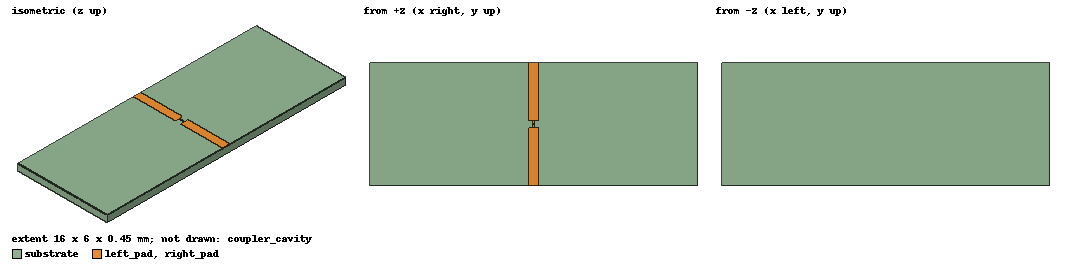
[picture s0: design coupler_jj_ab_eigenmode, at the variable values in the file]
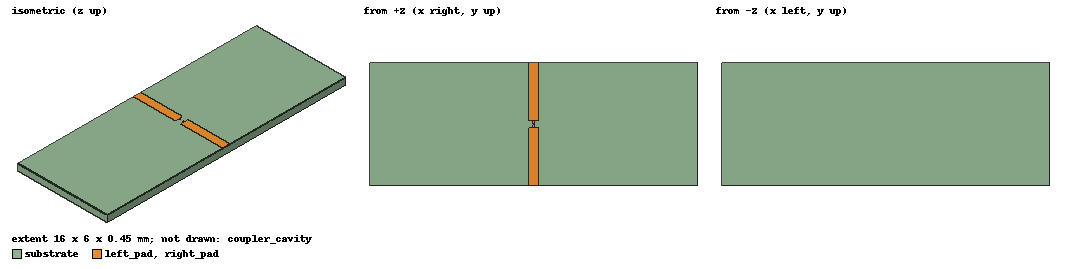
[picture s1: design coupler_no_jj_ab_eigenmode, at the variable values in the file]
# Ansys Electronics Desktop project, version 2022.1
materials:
  vacuum: permittivity=1
  sapphire: permittivity=10 dielectric_loss_tangent=1.9e-08

design coupler_jj_ab_eigenmode (HFSS, Eigenmode, model units mm)
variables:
  r_post = 2mm
  h_cpl_post = 7.5mm
  r_cpl_post = 2mm
  cpl_post_offset = 2mm
  r_cpl = 8mm
  h_cpl_cavity = 75mm
  w_pad = 500um
  w_junc = 50um
  l_junc = 50um
  l_taper = 150um
  l_pad = (2 * r_cpl_post + cpl_post_offset - 2 * l_taper - l_junc) / 2
  cpl_bottom_offset = 0mm
  h_sub = 0.45mm
  w_sub = cpl_post_offset + 2 * r_cpl_post
  l_sub = 2*r_cpl
  LJ = 1nH
  h_cav_a = 120mm
  r_cav_b = 5mm
  h_cav_b = 120mm
  h_post_b = 9mm
  r_post_b = 2mm
  ab_offset = 18mm
  r_cav_a = 5mm
  r_post_a = 2mm
  h_post_a = 9mm
  w_cpl_box = 4mm
  l_cpl_box = ab_offset + 2 mm
  h_cpl_box = 2mm
  e = 7mm
  box_z_offset = 0mm
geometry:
  left_cpl_post = cylinder(axis=Z, base_centre=(0mm, -cpl_post_offset/2-r_cpl_post, 0mm), radius=r_cpl_post, height=h_cpl_post)
  coupler_cavity [vacuum] = cylinder(axis=Z, base_centre=(0mm, 0mm, -cpl_bottom_offset), radius=r_cpl, height=h_cpl_cavity)
  right_cpl_post = cylinder(axis=Z, base_centre=(0mm, cpl_post_offset/2+r_cpl_post, 0mm), radius=r_cpl_post, height=h_cpl_post)
  left_pad = rectangle(corner=(-w_pad/2, -l_pad - l_taper - l_junc/2, 0mm), x_size=w_pad, y_size=l_pad)
  right_pad = rectangle(corner=(-w_pad/2, l_taper + l_junc/2, 0mm), x_size=w_pad, y_size=l_pad)
  left_taper = rectangle(corner=(-w_junc/2, -l_taper-l_junc/2, 0), x_size=w_junc, y_size=l_taper)
  right_taper = rectangle(corner=(-w_junc/2, l_junc/2, 0), x_size=w_junc, y_size=l_taper)
  jj = rectangle(corner=(-w_junc/2, -l_junc/2, 0), x_size=w_junc, y_size=l_junc)
  substrate [sapphire] = box(corner=(-l_sub/2, -w_sub/2, -h_sub), size=(l_sub, w_sub, h_sub))
  substrate1 = box(corner=(-l_sub/2, -w_sub/2, -h_sub), size=(l_sub, w_sub, h_sub))
  coupler_cavity.unite(substrate1)
  coupler_cavity.subtract(left_cpl_post, right_cpl_post)
  substrate_1 = substrate.copy()
  coupler_cavity.subtract(substrate_1)
  post_b = cylinder(axis=Z, base_centre=(0mm, ab_offset + r_cpl + r_cav_b, 0mm), radius=r_post_b, height=h_post_b)
  cavity_b = cylinder(axis=Z, base_centre=(0mm, ab_offset + r_cpl + r_cav_b, 0mm), radius=r_cav_b, height=h_cav_b)
  cavity_a = cylinder(axis=Z, base_centre=(0mm, -r_cpl-r_cav_a-ab_offset, 0mm), radius=r_cav_a, height=h_cav_a)
  post_a = cylinder(axis=Z, base_centre=(0mm, -ab_offset - r_cpl - r_cav_a, 0mm), radius=r_post_a, height=h_post_a)
  left_coupling_box = box(corner=(-w_cpl_box/2, -r_cpl-ab_offset/2-l_cpl_box/2, box_z_offset), size=(w_cpl_box, l_cpl_box, h_cpl_box))
  cavity_a.subtract(post_a)
  cavity_b.subtract(post_b)
  right_coupling_box = box(corner=(-w_cpl_box/2, r_cpl+ab_offset/2-l_cpl_box/2, box_z_offset), size=(w_cpl_box, l_cpl_box, h_cpl_box))
  coupler_cavity.unite(cavity_b, cavity_a, left_coupling_box, right_coupling_box)
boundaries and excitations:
  jj_rlc: Lumped RLC Objects=jj CurrentLine{(0, -0.025, 0) -> (0, 0.025, 0)} RLC_Type=Parallel Inductance=LJ
  cpl_pads: Perfect E Objects=[left_pad, left_taper, right_pad, right_taper]
  coupler_vac_bnd: Impedance Faces=coupler_cavity.face(3 of 3) Resistance=377 Reactance=0
  post_cavity_vac_bnd: Impedance Faces=coupler_cavity.face(3 of 3, 3 of 3) Resistance=377 Reactance=0
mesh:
  coupler_post_mesh: LengthBased Faces=coupler_cavity.face(at (2, 3, 3.75), at (2, -3, 3.75)) MaxLength=1.5mm
  post_top_coupler_mesh: LengthBased Faces=coupler_cavity.face(at (0, 3, 7.5), at (0, -3, 7.5)) MaxLength=1mm
  coupler_cavity_wall_mesh: LengthBased Faces=coupler_cavity.face(1 of 3, 3 of 3) MaxLength=15mm
  substrate_top_mesh: LengthBased Faces=substrate.face(+z) MaxLength=4mm
  pad_mesh: LengthBased Objects=[left_pad, right_pad] MaxLength=0.665mm
  taper_mesh: LengthBased Objects=[left_taper, right_taper] MaxLength=0.03mm
  jj_mesh: LengthBased Objects=jj MaxLength=0.01mm
  ab_cavity_wall_mesh: LengthBased Faces=coupler_cavity.face(1 of 3, 1 of 3, 3 of 3, 3 of 3) MaxLength=24mm
  cavity_bottom_mesh: LengthBased Faces=coupler_cavity.face(2 of 3) MaxLength=9.6mm
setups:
  Setup1: HfssEigen MinimumFrequency=1.98807GHz NumModes=6 MaxDeltaFreq=0.02 ConvergeOnRealFreq=true MaximumPasses=30 MinimumPasses=1 MinimumConvergedPasses=1 PercentRefinement=30 BasisOrder=1
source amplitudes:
  #-10:1: 1 0deg
  #-10:2..#-10:6: 0 0deg
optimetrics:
  LJ_sweep: Parametric Sim._Setups=[Setup1]
    sweep LJ: DEC 0.1nH 100nH 5
  ab_offset_sweep: Parametric Sim._Setups=[Setup1]
    sweep ab_offset: LIN 17mm 19mm 0.25mm
  cpl_box_width_sweep: Parametric Sim._Setups=[Setup1]
    sweep w_cpl_box: LIN 2mm 4mm 0.5mm
  cpl_box_z_offset_sweep: Parametric Sim._Setups=[Setup1]
    sweep box_z_offset: LIN 0mm 12mm 2mm
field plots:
  Vector_H1: H Field on Setup1 : LastAdaptive at Phase=90deg
  Vector_Jsurf1: Jsurf over coupler_cavity.face(2 of 3) on Setup1 : LastAdaptive at Phase=90deg
  Vector_E1: E Field on Setup1 : LastAdaptive at Phase=0deg
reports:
  Modes vs LJ: re(Mode(1)), re(Mode(2)), re(Mode(3)), re(Mode(4)), re(Mode(5)), re(Mode(6)) vs LJ on Setup1 : LastAdaptive
  Solution Convergence Plot 1: MaxDeltaFreq vs Pass on Setup1 : AdaptivePass [LJ=all ab_offset=all]; markers m1 at 5
  Eigen Q Plot 1: Q(1), Q(2), Q(3), Q(4), Q(5), Q(6) vs LJ on Setup1 : LastAdaptive
  Modes vs cavity offset: re(Mode(1)), re(Mode(2)), re(Mode(3)), re(Mode(4)), re(Mode(5)), re(Mode(6)) vs ab_offset on Setup1 : LastAdaptive [LJ=1nH]
  Mode splitting (1-2) vs cavity offset: re(Mode(2))- re(Mode(1)) vs ab_offset on Setup1 : LastAdaptive [LJ=1nH]; markers m1 at 18mm, m2 at 16mm, m3 at 20mm
  Modes vs coupler box width: re(Mode(1)), re(Mode(2)), re(Mode(3)), re(Mode(4)), re(Mode(5)), re(Mode(6)) vs w_cpl_box on Setup1 : LastAdaptive [r_cpl_post=2mm r_cpl=8mm LJ=1nH h_post_b=9mm ab_offset=18mm h_post_a=9mm]
  Modes vs coupler box width_1: re(Mode(2))-re(Mode(1)) vs w_cpl_box on Setup1 : LastAdaptive [r_cpl_post=2mm r_cpl=8mm LJ=1nH h_post_b=9mm ab_offset=18mm h_post_a=9mm]
  Solution Convergence Plot 2: MaxDeltaFreq vs Pass on Setup1 : AdaptivePass [r_cpl_post=2mm r_cpl=8mm LJ=1nH h_post_b=9mm ab_offset=18mm h_post_a=9mm w_cpl_box=all]
  Mode splitting vs LJ, lambda/2 coupling: re(Mode(2))-re(Mode(1)) vs LJ on Setup1 : LastAdaptive; markers m1 at 10nH, m2 at 1nH
  Eigen Modes Plot 1: re(Mode(1)), re(Mode(2)), re(Mode(3)), re(Mode(4)), re(Mode(5)), re(Mode(6)) vs box_z_offset on Setup1 : LastAdaptive [r_cpl_post=2mm r_cpl=8mm LJ=1nH h_post_b=9mm ab_offset=2mm h_post_a=9mm w_cpl_box=all]
  Mode splitting vs. coupler z offset: re(Mode(2))-re(Mode(1)) vs box_z_offset on Setup1 : LastAdaptive [r_cpl_post=2mm r_cpl=8mm LJ=1nH h_post_b=9mm ab_offset=2mm h_post_a=9mm w_cpl_box=all]

design coupler_no_jj_ab_eigenmode (HFSS, Eigenmode, model units mm)
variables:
  r_post = 2mm
  h_cpl_post = 7.5mm
  r_cpl_post = 2mm
  cpl_post_offset = 2mm
  r_cpl = 8mm
  h_cpl_cavity = 75mm
  w_pad = 500um
  w_junc = 50um
  l_junc = 50um
  l_taper = 150um
  l_pad = (2 * r_cpl_post + cpl_post_offset - 2 * l_taper - l_junc) / 2
  cpl_bottom_offset = 0mm
  h_sub = 0.45mm
  w_sub = cpl_post_offset + 2 * r_cpl_post
  l_sub = 2*r_cpl
  LJ = 1nH
  h_cav_a = 120mm
  r_cav_b = 5mm
  h_cav_b = 120mm
  h_post_b = 9mm
  r_post_b = 2mm
  ab_offset = 18mm
  r_cav_a = 5mm
  r_post_a = 2mm
  h_post_a = 9mm
  w_cpl_box = 4mm
  l_cpl_box = ab_offset + 2 mm
  h_cpl_box = 2mm
  e = 7mm
  box_z_offset = 0mm
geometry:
  left_cpl_post = cylinder(axis=Z, base_centre=(0mm, -cpl_post_offset/2-r_cpl_post, 0mm), radius=r_cpl_post, height=h_cpl_post)
  coupler_cavity [vacuum] = cylinder(axis=Z, base_centre=(0mm, 0mm, -cpl_bottom_offset), radius=r_cpl, height=h_cpl_cavity)
  right_cpl_post = cylinder(axis=Z, base_centre=(0mm, cpl_post_offset/2+r_cpl_post, 0mm), radius=r_cpl_post, height=h_cpl_post)
  left_pad = rectangle(corner=(-w_pad/2, -l_pad - l_taper - l_junc/2, 0mm), x_size=w_pad, y_size=l_pad)
  right_pad = rectangle(corner=(-w_pad/2, l_taper + l_junc/2, 0mm), x_size=w_pad, y_size=l_pad)
  left_taper = rectangle(corner=(-w_junc/2, -l_taper-l_junc/2, 0), x_size=w_junc, y_size=l_taper)
  right_taper = rectangle(corner=(-w_junc/2, l_junc/2, 0), x_size=w_junc, y_size=l_taper)
  substrate [sapphire] = box(corner=(-l_sub/2, -w_sub/2, -h_sub), size=(l_sub, w_sub, h_sub))
  substrate1 = box(corner=(-l_sub/2, -w_sub/2, -h_sub), size=(l_sub, w_sub, h_sub))
  coupler_cavity.unite(substrate1)
  coupler_cavity.subtract(left_cpl_post, right_cpl_post)
  substrate_1 = substrate.copy()
  coupler_cavity.subtract(substrate_1)
  post_b = cylinder(axis=Z, base_centre=(0mm, ab_offset + r_cpl + r_cav_b, 0mm), radius=r_post_b, height=h_post_b)
  cavity_b = cylinder(axis=Z, base_centre=(0mm, ab_offset + r_cpl + r_cav_b, 0mm), radius=r_cav_b, height=h_cav_b)
  cavity_a = cylinder(axis=Z, base_centre=(0mm, -r_cpl-r_cav_a-ab_offset, 0mm), radius=r_cav_a, height=h_cav_a)
  post_a = cylinder(axis=Z, base_centre=(0mm, -ab_offset - r_cpl - r_cav_a, 0mm), radius=r_post_a, height=h_post_a)
  left_coupling_box = box(corner=(-w_cpl_box/2, -r_cpl-ab_offset/2-l_cpl_box/2, box_z_offset), size=(w_cpl_box, l_cpl_box, h_cpl_box))
  cavity_a.subtract(post_a)
  cavity_b.subtract(post_b)
  right_coupling_box = box(corner=(-w_cpl_box/2, r_cpl+ab_offset/2-l_cpl_box/2, box_z_offset), size=(w_cpl_box, l_cpl_box, h_cpl_box))
  coupler_cavity.unite(cavity_b, cavity_a, left_coupling_box, right_coupling_box)
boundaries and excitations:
  cpl_pads: Perfect E Objects=[left_pad, left_taper, right_pad, right_taper]
  coupler_vac_bnd: Impedance Faces=coupler_cavity.face(3 of 3) Resistance=377 Reactance=0
  post_cavity_vac_bnd: Impedance Faces=coupler_cavity.face(3 of 3, 3 of 3) Resistance=377 Reactance=0
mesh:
  coupler_post_mesh: LengthBased Faces=coupler_cavity.face(at (2, 3, 3.75), at (2, -3, 3.75)) MaxLength=1.5mm
  post_top_coupler_mesh: LengthBased Faces=coupler_cavity.face(at (0, 3, 7.5), at (0, -3, 7.5)) MaxLength=1mm
  coupler_cavity_wall_mesh: LengthBased Faces=coupler_cavity.face(1 of 3, 3 of 3) MaxLength=15mm
  substrate_top_mesh: LengthBased Faces=substrate.face(+z) MaxLength=4mm
  pad_mesh: LengthBased Objects=[left_pad, right_pad] MaxLength=0.665mm
  taper_mesh: LengthBased Objects=[left_taper, right_taper] MaxLength=0.03mm
  ab_cavity_wall_mesh: LengthBased Faces=coupler_cavity.face(1 of 3, 1 of 3, 3 of 3, 3 of 3) MaxLength=24mm
  cavity_bottom_mesh: LengthBased Faces=coupler_cavity.face(2 of 3) MaxLength=9.6mm
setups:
  Setup1: HfssEigen MinimumFrequency=1.98807GHz NumModes=6 MaxDeltaFreq=0.02 ConvergeOnRealFreq=true MaximumPasses=30 MinimumPasses=1 MinimumConvergedPasses=1 PercentRefinement=30 BasisOrder=1
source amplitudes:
  #-10:1: 1 0deg
  #-10:2..#-10:6: 0 0deg
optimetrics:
  LJ_sweep: Parametric Sim._Setups=[Setup1]
    sweep LJ: DEC 0.1nH 100nH 5
  ab_offset_sweep: Parametric Sim._Setups=[Setup1]
    sweep ab_offset: LIN 16mm 20mm 1mm
  cpl_box_width_sweep: Parametric Sim._Setups=[Setup1]
    sweep w_cpl_box: LIN 2mm 4mm 0.5mm
  cpl_box_z_offset_sweep: Parametric Sim._Setups=[Setup1]
    sweep box_z_offset: LIN 0mm 12mm 2mm
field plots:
  Vector_H1: H Field on Setup1 : LastAdaptive at Phase=90deg
  Vector_Jsurf1: Jsurf over coupler_cavity.face(2 of 3) on Setup1 : LastAdaptive at Phase=90deg
  Vector_E1: E Field on Setup1 : LastAdaptive at Phase=0deg
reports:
  Modes vs LJ: re(Mode(1)), re(Mode(2)), re(Mode(3)), re(Mode(4)), re(Mode(5)), re(Mode(6)) vs LJ on Setup1 : LastAdaptive
  Solution Convergence Plot 1: MaxDeltaFreq vs Pass on Setup1 : AdaptivePass [LJ=all ab_offset=all]; markers m1 at 5
  Eigen Q Plot 1: Q(1), Q(2), Q(3), Q(4), Q(5), Q(6) vs LJ on Setup1 : LastAdaptive
  Modes vs cavity offset: re(Mode(1)), re(Mode(2)), re(Mode(3)), re(Mode(4)), re(Mode(5)), re(Mode(6)) vs ab_offset on Setup1 : LastAdaptive [LJ=1nH]
  Mode splitting (1-2) vs cavity offset: re(Mode(2))- re(Mode(1)) vs ab_offset on Setup1 : LastAdaptive [LJ=1nH]; markers m1 at 18mm, m2 at 16mm, m3 at 20mm
  Modes vs coupler box width: re(Mode(1)), re(Mode(2)), re(Mode(3)), re(Mode(4)), re(Mode(5)), re(Mode(6)) vs w_cpl_box on Setup1 : LastAdaptive [r_cpl_post=2mm r_cpl=8mm LJ=1nH h_post_b=9mm ab_offset=18mm h_post_a=9mm]
  Modes vs coupler box width_1: re(Mode(2))-re(Mode(1)) vs w_cpl_box on Setup1 : LastAdaptive [r_cpl_post=2mm r_cpl=8mm LJ=1nH h_post_b=9mm ab_offset=18mm h_post_a=9mm]
  Solution Convergence Plot 2: MaxDeltaFreq vs Pass on Setup1 : AdaptivePass [r_cpl_post=2mm r_cpl=8mm LJ=1nH h_post_b=9mm ab_offset=18mm h_post_a=9mm w_cpl_box=all]
  Mode splitting vs LJ, lambda/2 coupling: re(Mode(2))-re(Mode(1)) vs LJ on Setup1 : LastAdaptive; markers m1 at 10nH, m2 at 1nH
  Eigen Modes Plot 1: re(Mode(1)), re(Mode(2)), re(Mode(3)), re(Mode(4)), re(Mode(5)), re(Mode(6)) vs box_z_offset on Setup1 : LastAdaptive [r_cpl_post=2mm r_cpl=8mm LJ=1nH h_post_b=9mm ab_offset=2mm h_post_a=9mm w_cpl_box=all]
  Mode splitting vs. coupler z offset: re(Mode(2))-re(Mode(1)) vs box_z_offset on Setup1 : LastAdaptive [r_cpl_post=2mm r_cpl=8mm LJ=1nH h_post_b=9mm ab_offset=2mm h_post_a=9mm w_cpl_box=all]
